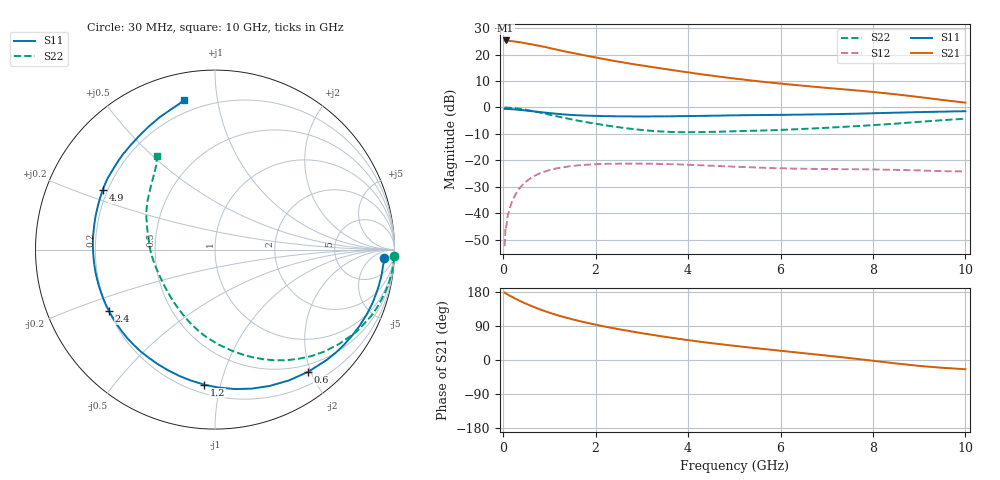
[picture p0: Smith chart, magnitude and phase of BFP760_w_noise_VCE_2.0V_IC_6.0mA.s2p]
! Infineon Technologies  Discrete & RF Semiconductors
! BFP760
! VCE =  2.0 V,  IC =  6.0 mA
! Common Emitter S-Parameters:  Nov 2012
# GHz  S  MA  R  50
!  f  S11  S21  S12  S22
! GHz  MAG  ANG  MAG  ANG  MAG  ANG  MAG  ANG
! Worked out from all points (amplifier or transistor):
!   99 points, 30 MHz to 10 GHz, reference 50 ohm
!   highest |S21| = 25.3 dB at 50 MHz (marker M1)
!   |S21| within 3 dB of that: start of sweep to 1.037 GHz
!   unconditionally stable (mu >= 1): 6.022 GHz to end of sweep
!   at 350 MHz: K = 0.09, MSG = 27.6 dB, |S12| = -30.5 dB
!   at 3.5 GHz: K = 0.53, MSG = 18.0 dB, |S12| = -21.4 dB
!   at 10 GHz: K = 1.29, MAG = 9.8 dB, |S12| = -24.2 dB
!   lowest NFmin = 0.43 dB at 900 MHz
!   S11 on the Smith chart (normalised r, x): 30 MHz: 20, -17; 600 MHz: 0.38, -1.96; 1.2 GHz: 0.25, -0.89; 2.4 GHz: 0.20, -0.26; 4.9 GHz: 0.18, +0.24; 10 GHz: 0.13, +0.81
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0.03  0.9426 -2.9  18.17 177.8  0.0024 86.9  0.9987 -2.2
0.04  0.9424 -3.8  18.2 177.3  0.0034 86.2  0.9984 -2.8
0.05  0.9425 -4.7  18.47 176.0  0.0055 89.7  0.9983 -3.4
0.12  0.9354 -11.3  18.22 171.2  0.0104 82.7  0.9924 -8.1
0.3  0.9112 -27.6  17.37 159.5  0.0257 73.5  0.9584 -19.8
0.45  0.8846 -40.4  16.54 150.8  0.0369 66.1  0.9182 -28.8
0.6  0.8561 -52.7  15.67 143.0  0.0466 59.2  0.8676 -37.4
0.8  0.8183 -68.2  14.53 133.3  0.0575 50.8  0.8007 -47.8
0.9  0.801 -75.3  13.92 129.0  0.0619 47.0  0.7653 -52.7
1.2  0.7549 -94.5  12.16 117.3  0.072 37.4  0.6706 -65.8
1.4  0.7313 -105.9  11.15 110.4  0.0767 32.2  0.6166 -73.5
1.7  0.7066 -121.4  9.895 101.3  0.0816 25.5  0.5475 -84.3
2.1  0.6906 -138.7  8.466 90.6  0.0854 17.8  0.4781 -98.0
2.4  0.683 -149.8  7.595 83.6  0.0867 13.2  0.4363 -107.5
2.8  0.6778 -162.9  6.636 74.9  0.0873 8.0  0.3921 -119.9
3.4  0.6796 -179.9  5.499 63.0  0.0858 1.5  0.3533 -138.6
4.2  0.6927 162.7  4.353 49.2  0.0815 -4.5  0.3422 -160.4
4.9  0.7082 151.9  3.618 38.8  0.0769 -7.7  0.3533 -174.0
5.1  0.7128 149.4  3.447 36.1  0.0757 -8.2  0.3574 -177.3
6.7  0.7392 133.4  2.476 15.5  0.0693 -8.9  0.4014 160.8
8.5  0.7989 112.8  1.773 -9.1  0.0664 -10.6  0.4959 136.6
10  0.8506 101.6  1.235 -24.3  0.062 -8.2  0.6153 121.8
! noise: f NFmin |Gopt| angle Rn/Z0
0.9  0.43  0.36  26  0.11
1.8  0.51  0.31  54  0.1
2.4  0.6  0.27  76  0.09
3.5  0.77  0.22  111  0.08
5.5  0.98  0.33  -152  0.08
8  1.52  0.45  -100  0.25
